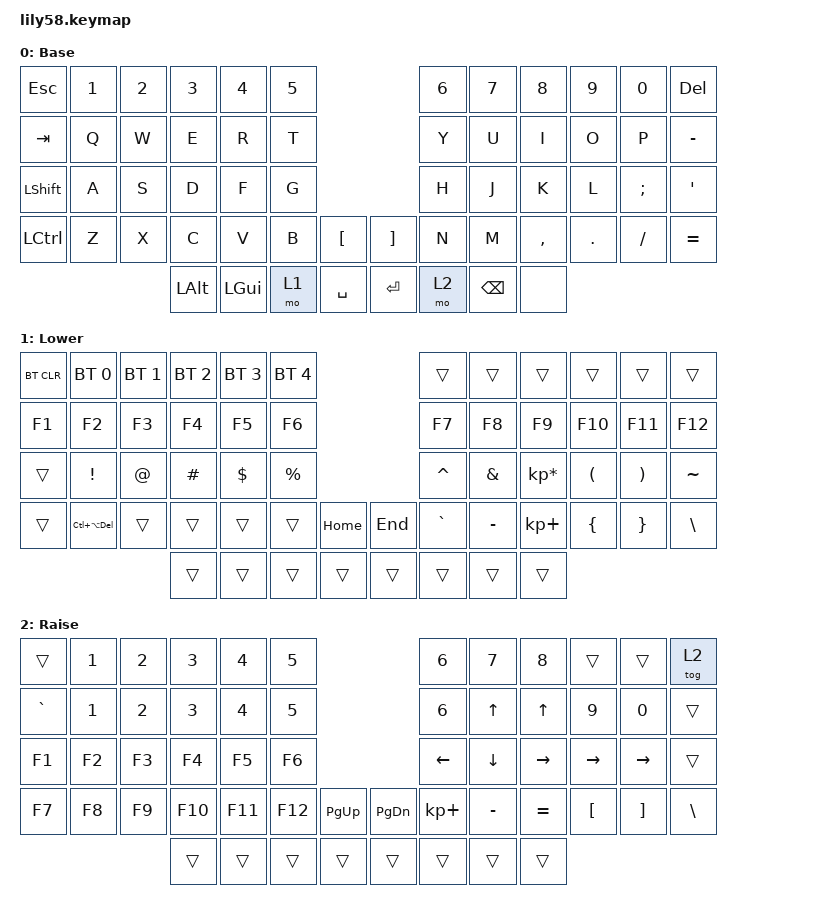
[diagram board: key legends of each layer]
/*
 * Copyright (c) 2020 The ZMK Contributors
 *
 * SPDX-License-Identifier: MIT
 */

#include <behaviors.dtsi>
#include <dt-bindings/zmk/bt.h>
#include <dt-bindings/zmk/keys.h>

/ {
    combos {
        compatible = "zmk,combos";

        ToggleLayer2 {
            bindings = <&tog 2>;
            key-positions = <57 55>;
        };

        ToggleLayer1 {
            bindings = <&tog 1>;
            key-positions = <57 52>;
        };
    };

    keymap {
        compatible = "zmk,keymap";

        default_layer {
            // ------------------------------------------------------------------------------------------------------------
            // |  ESC  |  1  |  2  |  3   |  4   |  5   |                   |  6   |  7    |  8    |  9   |   0   |   `   |
            // |  TAB  |  Q  |  W  |  E   |  R   |  T   |                   |  Y   |  U    |  I    |  O   |   P   |   -   |
            // |  CTRL |  A  |  S  |  D   |  F   |  G   |                   |  H   |  J    |  K    |  L   |   ;   |   '   |
            // | SHIFT |  Z  |  X  |  C   |  V   |  B   |   "["  |  |  "]"  |  N   |  M    |  ,    |  .   |   /   | SHIFT |
            //                     | ALT  | GUI  | LOWER|  SPACE |  | ENTER | RAISE| BSPC  | GUI   |

            display-name = "Base";
            bindings = <
&kp ESC         &kp N1  &kp N2  &kp N3    &kp N4    &kp N5                         &kp N6  &kp N7    &kp N8     &kp N9   &kp N0    &kp DELETE
&kp TAB         &kp Q   &kp W   &kp E     &kp R     &kp T                          &kp Y   &kp U     &kp I      &kp O    &kp P     &kp MINUS
&kp LEFT_SHIFT  &kp A   &kp S   &kp D     &kp F     &kp G                          &kp H   &kp J     &kp K      &kp L    &kp SEMI  &kp SQT
&kp LCTRL       &kp Z   &kp X   &kp C     &kp V     &kp B   &kp LBKT     &kp RBKT  &kp N   &kp M     &kp COMMA  &kp DOT  &kp FSLH  &kp EQUAL
                                &kp LALT  &kp LGUI  &mo 1   &kp SPACE    &kp RET   &mo 2   &kp BSPC  &none
            >;
        };

        lower_layer {
            // ------------------------------------------------------------------------------------------------------------
            // | BTCLR | BT1 | BT2 |  BT3 |  BT4 |  BT5 |                   |      |       |       |      |       |       |
            // |  F1   |  F2 |  F3 |  F4  |  F5  |  F6  |                   |  F7  |  F8   |  F9   |  F10 |  F11  |  F12  |
            // |   `   |  !  |  @  |  #   |  $   |  %   |                   |  ^   |  &    |  *    |  (   |   )   |   ~   |
            // |       |     |     |      |      |      |        |  |       |      |  _    |  +    |  {   |   }   |  "|"  |
            //                     |      |      |      |        |  |       |      |       |       |

            display-name = "Lower";
            bindings = <
&bt BT_CLR  &bt BT_SEL 0     &bt BT_SEL 1  &bt BT_SEL 2  &bt BT_SEL 3  &bt BT_SEL 4                       &trans     &trans     &trans           &trans    &trans    &trans
&kp F1      &kp F2           &kp F3        &kp F4        &kp F5        &kp F6                             &kp F7     &kp F8     &kp F9           &kp F10   &kp F11   &kp F12
&trans      &kp EXCL         &kp AT        &kp HASH      &kp DOLLAR    &kp PRCNT                          &kp CARET  &kp AMPS   &kp KP_MULTIPLY  &kp LPAR  &kp RPAR  &kp TILDE
&trans      &kp LC(LA(DEL))  &trans        &trans        &trans        &trans        &kp HOME    &kp END  &kp GRAVE  &kp MINUS  &kp KP_PLUS      &kp LBRC  &kp RBRC  &kp BACKSLASH
                                           &trans        &trans        &trans        &trans      &trans   &trans     &trans     &trans
            >;
        };

        raise_layer {
            // ------------------------------------------------------------------------------------------------------------
            // |       |     |     |      |      |      |                   |      |       |       |      |       |       |
            // |   `   |  1  |  2  |  3   |  4   |  5   |                   |  6   |   7   |   8   |  9   |   0   |       |
            // |   F1  |  F2 |  F3 |  F4  |  F5  |  F6  |                   |      |   <-  |   v   |  ^   |  ->   |       |
            // |   F7  |  F8 |  F9 |  F10 |  F11 |  F12 |        |  |       |  +   |   -   |   =   |  [   |   ]   |   \   |
            //                     |      |      |      |        |  |       |      |       |       |

            display-name = "Raise";
            bindings = <
&trans     &kp NUMBER_1  &kp NUMBER_2  &kp NUMBER_3  &kp NUMBER_4  &kp N5                                 &kp NUMBER_6    &kp N7          &kp N8           &trans           &trans     &tog 2
&kp GRAVE  &kp N1        &kp N2        &kp N3        &kp N4        &kp N5                                 &kp N6          &kp UP_ARROW    &kp UP_ARROW     &kp N9           &kp N0     &trans
&kp F1     &kp F2        &kp F3        &kp F4        &kp F5        &kp F6                                 &kp LEFT_ARROW  &kp DOWN_ARROW  &kp RIGHT_ARROW  &kp RIGHT_ARROW  &kp RIGHT  &trans
&kp F7     &kp F8        &kp F9        &kp F10       &kp F11       &kp F12  &kp PAGE_UP    &kp PAGE_DOWN  &kp KP_PLUS     &kp MINUS       &kp EQUAL        &kp LBKT         &kp RBKT   &kp BSLH
                                       &trans        &trans        &trans   &trans         &trans         &trans          &trans          &trans
            >;
        };
    };
};
